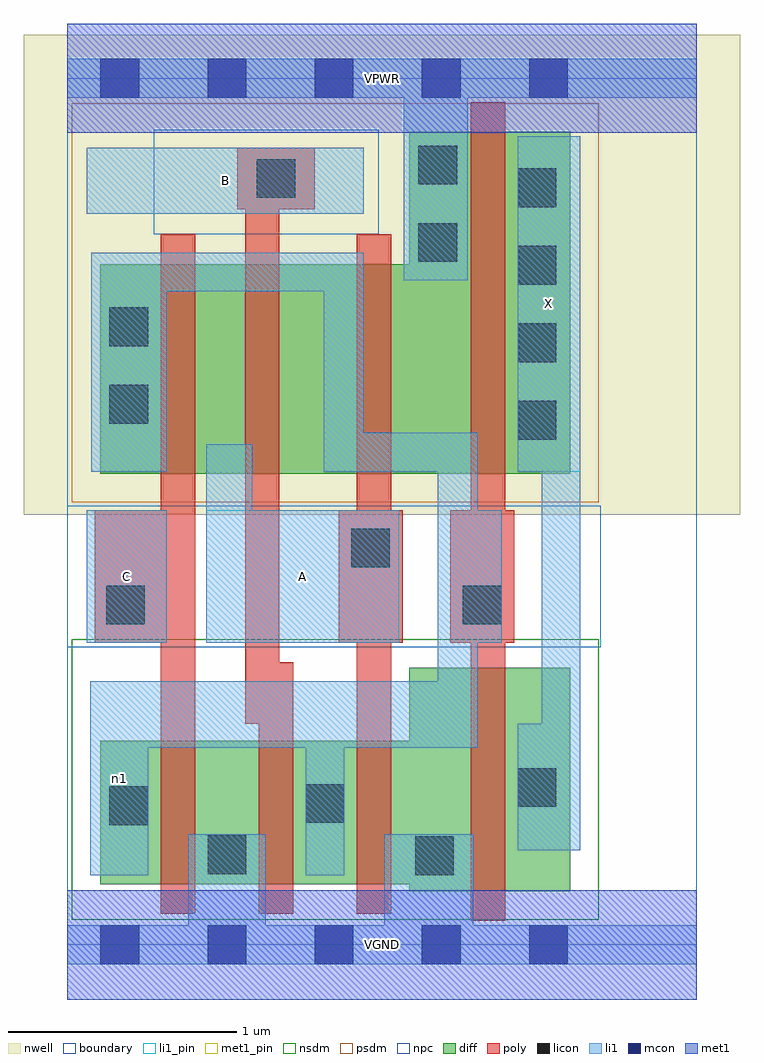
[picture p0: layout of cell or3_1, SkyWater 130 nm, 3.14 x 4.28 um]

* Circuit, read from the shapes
.subckt or3_1 A B C VGND VPWR X n1
XM1 VGND C n1 VSUBS sky130_fd_pr__nfet_01v8 w=0.63 l=0.15
XM2 n1 B VGND VSUBS sky130_fd_pr__nfet_01v8 w=0.63 l=0.15
XM3 VGND A n1 VSUBS sky130_fd_pr__nfet_01v8 w=0.63 l=0.15
XM4 X n1 VGND VSUBS sky130_fd_pr__nfet_01v8 w=0.98 l=0.15
XM5 n2 C n1 n3 sky130_fd_pr__pfet_01v8 w=0.92 l=0.15
XM6 n4 B n2 n3 sky130_fd_pr__pfet_01v8 w=0.92 l=0.15
XM7 VPWR A n4 n3 sky130_fd_pr__pfet_01v8 w=0.92 l=0.15
XM8 X n1 VPWR n3 sky130_fd_pr__pfet_01v8 w=1.5 l=0.15
.ends

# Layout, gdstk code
import gdstk
lib = gdstk.Library(unit=1e-6, precision=1e-09)
def R(c, l, rs):  # rectangles x0, y0, x1, y1
    for r in rs: c.add(gdstk.rectangle(r[:2], r[2:], *l))
def A(c, l, x, y, w, h, nx, ny, dx, dy):  # array of equal rectangles
    R(c, l, [(x+i*dx, y+j*dy, x+i*dx+w, y+j*dy+h) for i in range(nx) for j in range(ny)])
nwell = (64, 20)
diff = (65, 20)
poly = (66, 20)
licon = (66, 44)
li1_pin = (67, 16)
li1 = (67, 20)
mcon = (67, 44)
met1_pin = (68, 16)
met1 = (68, 20)
nsdm = (93, 44)
psdm = (94, 20)
npc = (95, 20)
boundary = (235, 4)

or3_1 = lib.new_cell('or3_1')
R(or3_1, nwell, [(-0.19,1.885,2.95,3.99), (0,1.885,2.76,3.99)])
R(or3_1, diff, [(1.5,0.235,2.205,1.215), (0.145,0.265,2.205,0.895), (0.145,2.065,2.205,2.985), (1.5,2.065,2.205,3.565)])
R(or3_1, poly, [(1.77,0.105,1.92,3.695), (0.41,0.135,0.56,3.115), (0.84,0.135,0.99,1.24), (1.27,0.135,1.42,3.115), (0.78,0.97,0.93,3.495), (0.12,1.325,0.56,1.905), (1.19,1.325,1.47,1.905), (1.68,1.325,1.96,1.905), (0.745,3.225,1.085,3.495)])
A(or3_1, licon, 1.975, 2.215, 0.17, 0.17, 1, 4, 0, 0.34)
R(or3_1, licon, [(1.525,0.305,1.695,0.475), (0.615,0.31,0.785,0.48), (0.185,0.525,0.355,0.695), (1.045,0.535,1.215,0.705), (1.975,0.605,2.145,0.775), (0.17,1.405,0.34,1.575), (1.735,1.405,1.905,1.575), (1.245,1.655,1.415,1.825), (0.185,2.285,0.355,2.455), (0.185,2.625,0.355,2.795), (1.54,2.995,1.71,3.165), (0.83,3.275,1,3.445), (1.54,3.335,1.71,3.505)])
R(or3_1, li1_pin, [(0.085,1.325,0.435,1.905), (0.61,1.325,1.455,1.905), (1.975,2.075,2.25,3.545), (0.085,3.205,1.3,3.495)])
R(or3_1, li1, [(0,-0.085,2.76,0.085), (0.53,-0.085,0.87,0.485), (1.39,-0.085,1.78,0.485), (0.1,0.305,0.355,1.155), (1.045,0.305,1.215,1.155), (1.975,0.415,2.25,0.97), (2.08,0.415,2.25,3.545), (0.1,0.865,1.8,1.155), (1.625,0.865,1.8,2.245), (0.085,1.325,0.435,1.905), (0.61,1.325,1.455,1.905), (0.61,1.325,0.81,2.195), (1.625,1.325,1.905,1.905), (0.105,2.075,0.435,3.035), (1.125,2.075,1.8,2.245), (1.125,2.075,1.3,3.035), (1.975,2.075,2.25,3.545), (0.105,2.865,1.3,3.035), (1.475,2.915,1.755,3.885), (0.085,3.205,1.3,3.495), (0,3.715,2.76,3.885)])
A(or3_1, mcon, 0.145, -0.085, 0.17, 0.17, 5, 2, 0.47, 3.8)
R(or3_1, met1_pin, [(0,-0.24,2.76,0.24), (0,3.56,2.76,4.04)])
R(or3_1, met1, [(0,-0.24,2.76,0.24), (0,3.56,2.76,4.04)])
R(or3_1, nsdm, [(0.02,0.11,2.33,1.34)])
R(or3_1, psdm, [(0.02,1.94,2.33,3.69)])
R(or3_1, npc, [(0,1.305,2.34,1.925), (0.38,3.115,1.365,3.575)])
R(or3_1, boundary, [(0,0,2.76,3.8)])
or3_1.add(gdstk.Label('A', (1.032,1.615), layer=67, texttype=5))
or3_1.add(gdstk.Label('B', (0.692,3.35), layer=67, texttype=5))
or3_1.add(gdstk.Label('C', (0.26,1.615), layer=67, texttype=5))
or3_1.add(gdstk.Label('X', (2.112,2.81), layer=67, texttype=5))
or3_1.add(gdstk.Label('n1', (0.227,0.73), layer=67, texttype=5))
or3_1.add(gdstk.Label('VPWR', (1.38,3.8), layer=68, texttype=5))
or3_1.add(gdstk.Label('VGND', (1.38,0), layer=68, texttype=5))
or3_1.add(gdstk.Label('A', (1.032,1.615), layer=67, texttype=16))
or3_1.add(gdstk.Label('B', (0.692,3.35), layer=67, texttype=16))
or3_1.add(gdstk.Label('C', (0.26,1.615), layer=67, texttype=16))
or3_1.add(gdstk.Label('X', (2.112,2.81), layer=67, texttype=16))
or3_1.add(gdstk.Label('VPWR', (1.38,3.8), layer=68, texttype=16))
or3_1.add(gdstk.Label('VGND', (1.38,0), layer=68, texttype=16))

lib.write_gds('or3_1.gds')
